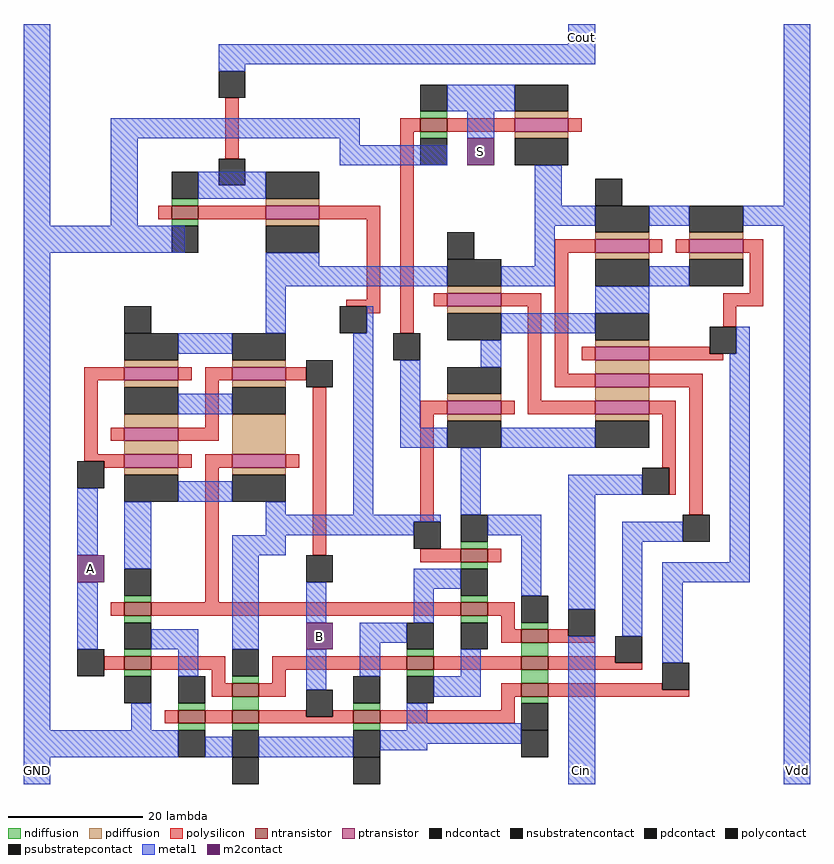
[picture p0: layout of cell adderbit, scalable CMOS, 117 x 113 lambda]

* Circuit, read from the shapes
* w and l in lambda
.subckt adderbit A B Cin Cout GND S Vdd
M1 n1 A GND GND nfet w=4 l=2
M2 n2 Cin n1 GND nfet w=4 l=2
M3 Cout n2 GND GND nfet w=4 l=2
M4 n1 B GND GND nfet w=4 l=2
M5 n3 B GND GND nfet w=4 l=2
M6 n2 A n3 GND nfet w=4 l=2
M7 n4 B GND GND nfet w=4 l=2
M8 n4 A GND GND nfet w=4 l=2
M9 S n5 GND GND nfet w=4 l=2
M10 n4 Cin GND GND nfet w=4 l=2
M11 n5 n2 n4 GND nfet w=4 l=2
M12 n6 B GND GND nfet w=4 l=2
M13 n7 A n6 GND nfet w=4 l=2
M14 n5 Cin n7 GND nfet w=4 l=2
M15 n8 A n2 Vdd pfet w=8 l=2
M16 n9 B n8 Vdd pfet w=8 l=2
M17 Vdd A n9 Vdd pfet w=8 l=2
M18 n9 Cin n2 Vdd pfet w=8 l=2
M19 Vdd B n9 Vdd pfet w=8 l=2
M20 Cout n2 Vdd Vdd pfet w=8 l=2
M21 n10 n2 n5 Vdd pfet w=8 l=2
M22 Vdd Cin n10 Vdd pfet w=8 l=2
M23 S n5 Vdd Vdd pfet w=8 l=2
M24 n11 Cin n5 Vdd pfet w=8 l=2
M25 n12 A n11 Vdd pfet w=8 l=2
M26 n10 B n12 Vdd pfet w=8 l=2
M27 Vdd A n10 Vdd pfet w=8 l=2
M28 Vdd B n10 Vdd pfet w=8 l=2
.ends

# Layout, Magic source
magic
tech scmos
<< polysilicon >>
rect 15 89 17 98
rect 31 80 38 82
rect 36 68 38 80
rect 33 67 38 68
rect 36 66 38 67
rect 41 63 43 95
rect 64 75 70 77
rect 78 75 80 77
rect 82 75 84 77
rect 92 75 95 77
rect 46 67 48 69
rect 56 67 62 69
rect -6 56 0 58
rect 8 56 10 58
rect 12 56 16 58
rect 24 56 27 58
rect -6 45 -4 56
rect 12 49 14 56
rect -2 47 0 49
rect 8 47 14 49
rect -6 44 0 45
rect -3 43 0 44
rect 8 43 10 45
rect 12 43 16 45
rect 24 43 26 45
rect 12 23 14 43
rect 28 30 30 55
rect 60 53 62 67
rect 64 57 66 75
rect 93 69 95 75
rect 89 67 95 69
rect 89 64 91 67
rect 68 59 70 61
rect 78 60 87 61
rect 78 59 89 60
rect 64 55 70 57
rect 78 55 86 57
rect 44 51 48 53
rect 56 51 58 53
rect 60 51 70 53
rect 78 51 82 53
rect 44 35 46 51
rect 80 43 82 51
rect 81 39 82 43
rect 84 36 86 55
rect 44 29 50 31
rect 54 29 56 31
rect -2 21 0 23
rect 4 21 50 23
rect 54 21 58 23
rect 56 19 58 21
rect 56 17 59 19
rect 63 18 66 19
rect 63 17 70 18
rect -3 13 0 15
rect 4 13 15 15
rect 13 11 15 13
rect 22 13 42 15
rect 46 13 59 15
rect 63 14 73 15
rect 63 13 77 14
rect 22 11 24 13
rect 13 9 16 11
rect 20 9 24 11
rect 6 5 8 7
rect 12 5 16 7
rect 20 6 27 7
rect 56 9 59 11
rect 63 10 80 11
rect 63 9 84 10
rect 56 7 58 9
rect 31 6 34 7
rect 20 5 34 6
rect 38 5 58 7
<< ndiffusion >>
rect 0 23 4 24
rect 50 31 54 32
rect 50 28 54 29
rect 50 23 54 24
rect 0 20 4 21
rect 50 20 54 21
rect 59 19 63 20
rect 0 15 4 16
rect 0 12 4 13
rect 42 15 46 16
rect 59 15 63 17
rect 16 11 20 12
rect 42 12 46 13
rect 8 7 12 8
rect 16 7 20 9
rect 59 11 63 13
rect 34 7 38 8
rect 59 8 63 9
rect 8 4 12 5
rect 16 4 20 5
rect 34 4 38 5
<< pdiffusion >>
rect 70 77 78 78
rect 84 77 92 78
rect 48 69 56 70
rect 48 66 56 67
rect 0 58 8 59
rect 16 58 24 59
rect 0 55 8 56
rect 0 49 8 51
rect 16 55 24 56
rect 0 45 8 47
rect 16 45 24 51
rect 0 42 8 43
rect 16 42 24 43
rect 48 53 56 54
rect 70 74 78 75
rect 84 74 92 75
rect 70 61 78 62
rect 70 57 78 59
rect 70 53 78 55
rect 48 50 56 51
rect 70 50 78 51
<< metal1 >>
rect -15 79 -11 109
rect 66 106 70 109
rect 14 103 70 106
rect 14 102 18 103
rect -2 92 35 95
rect -2 79 2 92
rect 32 91 35 92
rect 51 92 55 96
rect 32 88 48 91
rect 61 82 65 88
rect 98 82 102 109
rect 61 79 70 82
rect -15 75 9 79
rect -15 4 -11 75
rect 21 73 29 75
rect 21 70 48 73
rect 61 73 64 79
rect 78 79 84 82
rect 92 79 102 82
rect 56 70 64 73
rect 78 70 84 73
rect 21 63 24 70
rect 36 63 37 67
rect 70 66 78 70
rect 8 60 16 63
rect 8 51 16 54
rect -7 30 -4 40
rect 8 38 16 41
rect 0 28 4 38
rect 21 36 24 38
rect 34 36 37 63
rect 56 63 70 66
rect 41 49 44 59
rect 53 58 56 62
rect 91 60 93 64
rect 41 46 48 49
rect 56 46 70 49
rect 50 36 53 46
rect 66 39 77 42
rect 21 35 47 36
rect 21 33 43 35
rect -7 16 -4 26
rect 16 30 24 33
rect 54 33 62 36
rect 4 16 11 19
rect 8 12 11 16
rect 16 16 20 30
rect 27 20 30 26
rect 43 25 50 28
rect 43 20 46 25
rect 59 24 62 33
rect 66 22 70 39
rect 35 17 42 20
rect 27 10 30 16
rect 35 12 38 17
rect 74 32 83 35
rect 74 18 77 32
rect 90 29 93 60
rect 50 12 53 16
rect 1 4 4 8
rect 46 9 53 12
rect 42 5 45 8
rect 42 4 59 5
rect -15 0 8 4
rect 12 0 16 3
rect 20 0 34 3
rect 38 2 59 4
rect 38 1 45 2
rect -15 -4 -11 0
rect 66 -4 70 18
rect 80 26 93 29
rect 80 14 83 26
rect 98 -4 102 79
<< ntransistor >>
rect 50 29 54 31
rect 0 21 4 23
rect 50 21 54 23
rect 59 17 63 19
rect 0 13 4 15
rect 42 13 46 15
rect 59 13 63 15
rect 16 9 20 11
rect 8 5 12 7
rect 16 5 20 7
rect 59 9 63 11
rect 34 5 38 7
<< ptransistor >>
rect 70 75 78 77
rect 84 75 92 77
rect 48 67 56 69
rect 0 56 8 58
rect 16 56 24 58
rect 0 47 8 49
rect 0 43 8 45
rect 16 43 24 45
rect 70 59 78 61
rect 70 55 78 57
rect 48 51 56 53
rect 70 51 78 53
<< polycontact >>
rect 14 98 18 102
rect 14 85 18 89
rect 32 63 36 67
rect 40 59 44 63
rect 27 55 31 59
rect -7 40 -3 44
rect 87 60 91 64
rect 77 39 81 43
rect 43 31 47 35
rect 83 32 87 36
rect 27 26 31 30
rect 66 18 70 22
rect -7 12 -3 16
rect 73 14 77 18
rect 27 6 31 10
rect 80 10 84 14
<< ndcontact >>
rect 0 24 4 28
rect 50 32 54 36
rect 50 24 54 28
rect 0 16 4 20
rect 42 16 46 20
rect 50 16 54 20
rect 59 20 63 24
rect 0 8 4 12
rect 8 8 12 12
rect 16 12 20 16
rect 34 8 38 12
rect 42 8 46 12
rect 8 0 12 4
rect 16 0 20 4
rect 34 0 38 4
rect 59 4 63 8
<< pdcontact >>
rect 70 78 78 82
rect 84 78 92 82
rect 48 70 56 74
rect 0 59 8 63
rect 16 59 24 63
rect 48 62 56 66
rect 0 51 8 55
rect 16 51 24 55
rect 0 38 8 42
rect 16 38 24 42
rect 48 54 56 58
rect 70 70 78 74
rect 84 70 92 74
rect 70 62 78 66
rect 48 46 56 50
rect 70 46 78 50
<< m2contact >>
rect 51 88 55 92
rect -7 26 -3 30
rect 27 16 31 20
<< psubstratepcontact >>
rect 16 -4 20 0
rect 59 0 63 4
rect 34 -4 38 0
<< nsubstratencontact >>
rect 0 63 4 67
rect 70 82 74 86
rect 48 74 52 78
use inverter  inverter_1
transform 0 1 37 1 0 93
box -5 5 7 31
use inverter  inverter_0
transform 0 1 0 1 0 80
box -5 5 7 31
<< labels >>
rlabel metal1 -15 -4 -11 0 2 GND
rlabel m2contact 51 88 55 92 1 S
rlabel metal1 98 -4 102 0 8 Vdd
rlabel m2contact -7 26 -3 30 1 A
rlabel m2contact 27 16 31 20 1 B
rlabel metal1 66 -4 70 0 1 Cin
rlabel metal1 66 105 70 109 5 Cout
<< end >>

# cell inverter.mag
magic
tech scmos
<< polysilicon >>
rect 0 29 2 31
rect 0 11 2 21
rect 0 5 2 7
<< ndiffusion >>
rect -1 7 0 11
rect 2 7 3 11
<< pdiffusion >>
rect -1 21 0 29
rect 2 21 3 29
<< metal1 >>
rect 3 11 7 21
<< ntransistor >>
rect 0 7 2 11
<< ptransistor >>
rect 0 21 2 29
<< ndcontact >>
rect -5 7 -1 11
rect 3 7 7 11
<< pdcontact >>
rect -5 21 -1 29
rect 3 21 7 29
<< labels >>
rlabel metal1 5 16 5 16 7 out
<< end >>
